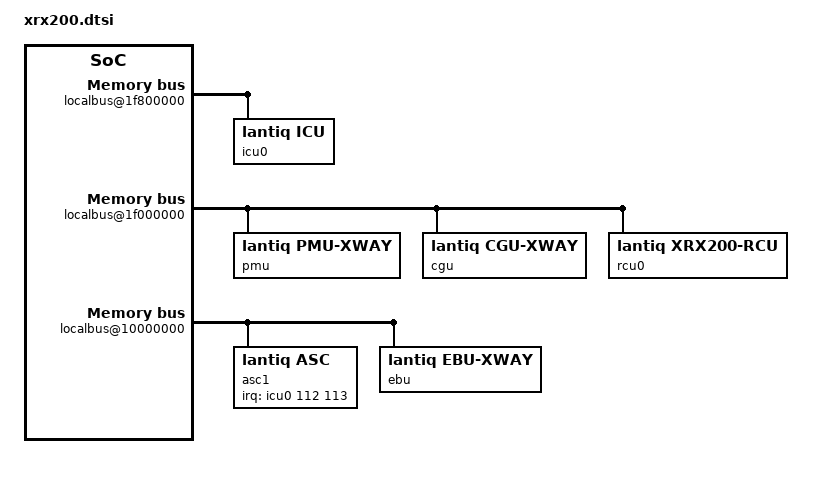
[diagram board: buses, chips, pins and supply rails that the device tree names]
// SPDX-License-Identifier: GPL-2.0-or-later OR BSD-2-Clause

/dts-v1/;

/ {
	#address-cells = <1>;
	#size-cells = <1>;
	compatible = "lantiq,vr9";

	aliases {
		serial0 = &asc1;
	};

	chosen {
		stdout-path = "serial0:115200n8";
	};

	cpus {
		#address-cells = <1>;
		#size-cells = <0>;

		cpu@0 {
			compatible = "mips,mips34Kc";
			reg = <0>;
		};
	};

	cpuintc: cpuintc {
		compatible = "mti,cpu-interrupt-controller";

		#address-cells = <0>;
		#interrupt-cells = <1>;

		interrupt-controller;
	};

	localbus@1f800000 {
		#address-cells = <1>;
		#size-cells = <1>;
		compatible = "simple-bus";
		reg = <0x1f800000 0x800000>;
		ranges = <0x0 0x1f800000 0x7fffff>;

		icu0: icu@80200 {
			#interrupt-cells = <1>;
			interrupt-controller;
			interrupt-parent = <&cpuintc>;
			interrupts = <2>, <3>, <4>, <5>, <6>;
			compatible = "lantiq,icu";
			reg = <0x80200 0xc8	/* icu0 */
			       0x80300 0xc8>;	/* icu1 */
		};
	};

	localbus@1f000000 {
		#address-cells = <1>;
		#size-cells = <1>;
		compatible = "simple-bus";
		reg = <0x1f000000 0x800000>;
		ranges = <0x0 0x1f000000 0x7fffff>;

		pmu@102000 {
			compatible = "lantiq,pmu-xway";
			reg = <0x102000 0x1000>;
		};

		cgu@103000 {
			compatible = "lantiq,cgu-xway";
			reg = <0x103000 0x1000>;
		};

		rcu0: rcu@203000 {
			#address-cells = <1>;
			#size-cells = <1>;
			compatible = "lantiq,xrx200-rcu", "simple-mfd", "syscon";
			reg = <0x203000 0x100>;
			ranges = <0x0 0x203000 0x100>;
			big-endian;
		};
	};

	localbus@10000000 {
		compatible = "lantiq,xrx200-fpi", "simple-bus";
		ranges = <0x0 0x10000000 0xf000000>;
		reg =	<0x1f400000 0x1000>,
			<0x10000000 0xf000000>;
		regmap = <&rcu0>;
		offset-endianness = <0x4c>;
		#address-cells = <1>;
		#size-cells = <1>;

		asc1: serial@e100c00 {
			compatible = "lantiq,asc";
			reg = <0xe100c00 0x400>;
			interrupt-parent = <&icu0>;
			interrupts = <112 113 114>;
		};

		ebu@e105300 {
			compatible = "lantiq,ebu-xway";
			reg = <0xe105300 0x100>;
		};
	};
};
